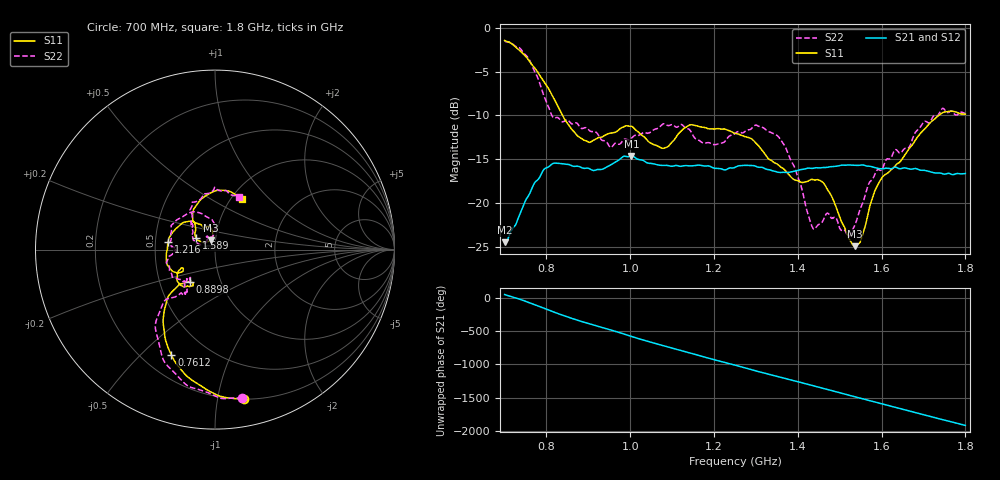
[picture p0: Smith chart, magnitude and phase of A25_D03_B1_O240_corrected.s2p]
! Created with skrf 1.9.0 (http://scikit-rf.org).
# Hz S RI R 50.0
!freq ReS11 ImS11 ReS21 ImS21 ReS12 ImS12 ReS22 ImS22
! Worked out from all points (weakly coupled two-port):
!   1601 points, 700 MHz to 1.8 GHz, reference 50 ohm
!   highest |S21| = -14.62 dB at 1.002 GHz (marker M1); lowest = -24.5 dB at 701.4 MHz (marker M2)
!   lowest |S11| = -25.0 dB at 1.535 GHz (marker M3), VSWR 1.12, Z = 47.4 + j4.86 ohm
!   |S11| at or under -10 dB: 838.4 MHz to 1.736 GHz (897.8 MHz wide, 69.7 % of centre)
!   |S22| runs from -23.9 to -1.5 dB; largest |S21 - S12| = 0.0035
!   S11 on the Smith chart (normalised r, x): 700 MHz: 0.20, -1.19; 761.2 MHz: 0.32, -0.62; 889.8 MHz: 0.71, -0.27; 1.216 GHz: 0.58, +0.06; 1.589 GHz: 0.80, +0.11; 1.8 GHz: 1.12, +0.71
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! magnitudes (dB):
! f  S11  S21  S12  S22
! 700 MHz  -1.4  -24.5  -24.3  -1.5
! 701.4 MHz  -1.4  -24.5  -24.2  -1.5
! 761.2 MHz  -3.9  -18.8  -18.7  -3.8
! 814.8 MHz  -7.8  -15.5  -15.6  -10.2
! 883.6 MHz  -12.6  -16.0  -15.9  -11.5
! 889.8 MHz  -12.8  -16.1  -16.0  -11.4
! 953 MHz  -12.0  -15.7  -15.7  -13.7
! 1.002 GHz  -11.2  -14.6  -14.7  -12.6
! 1.067 GHz  -13.5  -15.7  -15.6  -11.4
! 1.142 GHz  -11.1  -15.8  -15.7  -11.7
! 1.216 GHz  -11.6  -16.1  -16.1  -13.2
! 1.25 GHz  -12.0  -15.9  -15.9  -12.1
! 1.355 GHz  -15.7  -16.5  -16.4  -12.5
! 1.394 GHz  -17.4  -16.4  -16.3  -16.1
! 1.434 GHz  -17.3  -16.1  -16.0  -22.7
! 1.464 GHz  -17.9  -16.0  -15.9  -21.5
! 1.521 GHz  -24.0  -15.7  -15.7  -23.9
! 1.535 GHz  -25.0  -15.7  -15.7  -22.6
! 1.589 GHz  -18.1  -16.0  -16.0  -16.3
! 1.617 GHz  -16.5  -16.1  -16.0  -15.0
! 1.739 GHz  -9.9  -16.6  -16.6  -9.7
! 1.8 GHz  -9.9  -16.6  -16.6  -9.8
